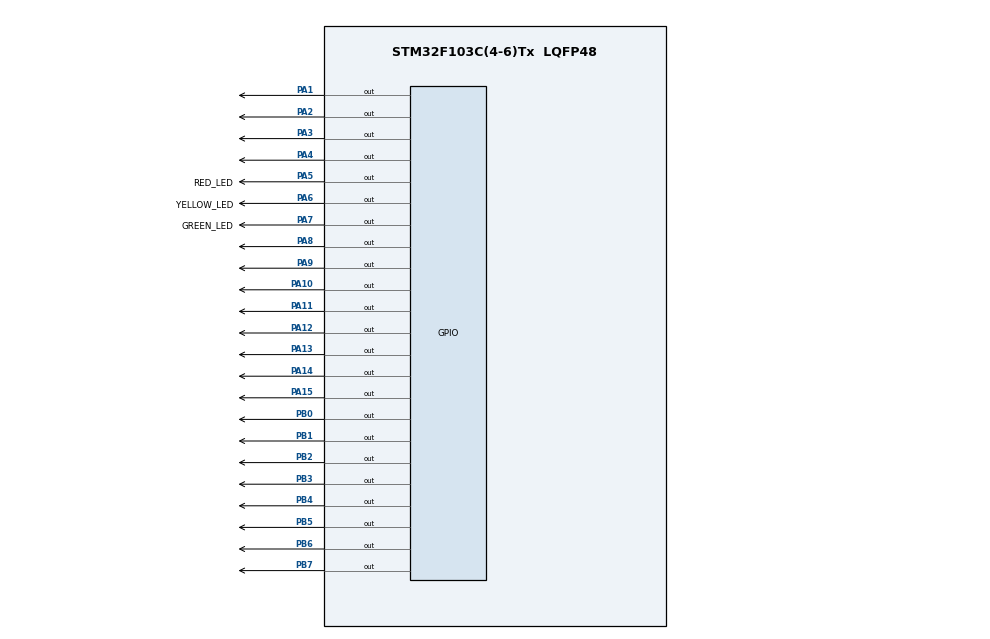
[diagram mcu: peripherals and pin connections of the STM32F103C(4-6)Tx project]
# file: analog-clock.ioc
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Mcu.Family=STM32F1
Mcu.Name=STM32F103C(4-6)Tx
Mcu.Package=LQFP48
NVIC.PriorityGroup=NVIC_PRIORITYGROUP_4
PA1.Signal=GPIO_Output
PA10.Signal=GPIO_Output
PA11.Signal=GPIO_Output
PA12.Signal=GPIO_Output
PA13.Signal=GPIO_Output
PA14.Signal=GPIO_Output
PA15.Signal=GPIO_Output
PA2.Signal=GPIO_Output
PA3.Signal=GPIO_Output
PA4.Signal=GPIO_Output
PA5.GPIO_Label=RED_LED
PA5.Signal=GPIO_Output
PA6.GPIO_Label=YELLOW_LED
PA6.Signal=GPIO_Output
PA7.GPIO_Label=GREEN_LED
PA7.Signal=GPIO_Output
PA8.Signal=GPIO_Output
PA9.Signal=GPIO_Output
PB0.Signal=GPIO_Output
PB1.Signal=GPIO_Output
PB2.Signal=GPIO_Output
PB3.Signal=GPIO_Output
PB4.Signal=GPIO_Output
PB5.Signal=GPIO_Output
PB6.Signal=GPIO_Output
PB7.Signal=GPIO_Output
ProjectManager.HeapSize=0x200
ProjectManager.StackSize=0x400
ProjectManager.TargetToolchain=STM32CubeIDE
RCC.APB1Freq_Value=8000000
RCC.APB2Freq_Value=8000000
VP_SYS_VS_ND.Mode=No_Debug
board=custom

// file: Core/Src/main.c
/* USER CODE BEGIN Header */
/**
  ******************************************************************************
  * @file           : main.c
  * @brief          : Main program body
  ******************************************************************************
  * @attention
  *
  * <h2><center>&copy; Copyright (c) 2022 STMicroelectronics.
  * All rights reserved.</center></h2>
  *
  * This software component is licensed by ST under BSD 3-Clause license,
  * the "License"; You may not use this file except in compliance with the
  * License. You may obtain a copy of the License at:
  *                        opensource.org/licenses/BSD-3-Clause
  *
  ******************************************************************************
  */
/* USER CODE END Header */
#include "main.h"

void SystemClock_Config(void);
static void MX_GPIO_Init(void);

// Ex6
void turnOnLed(){
	for(int i = 4; i < 16; i++){
	  HAL_GPIO_WritePin(GPIOA, GPIO_PIN_0 << i, 0);
	  HAL_Delay(500);
	  HAL_GPIO_WritePin(GPIOA, GPIO_PIN_0 << i, 1);
	}
}

//uint16_t LEDpin[12] = {GPIO_PIN_4, GPIO_PIN_5, GPIO_PIN_6, GPIO_PIN_7, GPIO_PIN_8, GPIO_PIN_9, GPIO_PIN_10, GPIO_PIN_11, GPIO_PIN_12, GPIO_PIN_13, GPIO_PIN_14, GPIO_PIN_15};
//
//void testLED(int num){
//	HAL_GPIO_WritePin(GPIOA, GPIO_PIN_4 | GPIO_PIN_5 | GPIO_PIN_6 | GPIO_PIN_7 | GPIO_PIN_8 | GPIO_PIN_9 | GPIO_PIN_10 | GPIO_PIN_11 | GPIO_PIN_12 | GPIO_PIN_13 | GPIO_PIN_14 | GPIO_PIN_15, GPIO_PIN_SET);
//	HAL_GPIO_WritePin(GPIOA, LEDpin[num], GPIO_PIN_RESET);
//}

// Ex7
void clearAllClock(){
	for(int i = 4; i < 16; i++){
		 HAL_GPIO_WritePin(GPIOA, GPIO_PIN_0 << i, 1);
	}
}

// Ex 8
uint16_t LEDPin[12] = {GPIO_PIN_4, GPIO_PIN_5, GPIO_PIN_6, GPIO_PIN_7, GPIO_PIN_8, GPIO_PIN_9, GPIO_PIN_10, GPIO_PIN_11, GPIO_PIN_12, GPIO_PIN_13, GPIO_PIN_14, GPIO_PIN_15};
void setNumberOnClock(int num){
	HAL_GPIO_WritePin(GPIOA, LEDPin[num], 0);
}

// Ex 9
void clearNumberOnClock(int num){
	HAL_GPIO_WritePin(GPIOA, LEDPin[num], 1);
}

int main(void)
{
  HAL_Init();
 SystemClock_Config();
  MX_GPIO_Init();
  // Ex10
  	int second = 0;
    int minute = 0;
    int hour = 0;
    /* USER CODE END 2 */

    /* Infinite loop */
    /* USER CODE BEGIN WHILE */
    while (1)
    {
  	  if (second == 11){
  		  second = 0;
  		  minute++;
  	  }
  	  if (minute == 11){
  		  minute = 0;
  		  hour++;
  	  }
  	  if (hour == 12){
  		  hour = 0;
  	  }

  	  clearAllClock();
  	  setNumberOnClock(second);
  	  setNumberOnClock(minute);
  	  setNumberOnClock(hour);
  	  HAL_Delay(250);
  	  second++;

      /* USER CODE END WHILE */

      /* USER CODE BEGIN 3 */
    }
}

void SystemClock_Config(void)
{
  RCC_OscInitTypeDef RCC_OscInitStruct = {0};
  RCC_ClkInitTypeDef RCC_ClkInitStruct = {0};

  /** Initializes the RCC Oscillators according to the specified parameters
  * in the RCC_OscInitTypeDef structure.
  */
  RCC_OscInitStruct.OscillatorType = RCC_OSCILLATORTYPE_HSI;
  RCC_OscInitStruct.HSIState = RCC_HSI_ON;
  RCC_OscInitStruct.HSICalibrationValue = RCC_HSICALIBRATION_DEFAULT;
  RCC_OscInitStruct.PLL.PLLState = RCC_PLL_NONE;
  if (HAL_RCC_OscConfig(&RCC_OscInitStruct) != HAL_OK)
  {
    Error_Handler();
  }
  /** Initializes the CPU, AHB and APB buses clocks
  */
  RCC_ClkInitStruct.ClockType = RCC_CLOCKTYPE_HCLK|RCC_CLOCKTYPE_SYSCLK
                              |RCC_CLOCKTYPE_PCLK1|RCC_CLOCKTYPE_PCLK2;
  RCC_ClkInitStruct.SYSCLKSource = RCC_SYSCLKSOURCE_HSI;
  RCC_ClkInitStruct.AHBCLKDivider = RCC_SYSCLK_DIV1;
  RCC_ClkInitStruct.APB1CLKDivider = RCC_HCLK_DIV1;
  RCC_ClkInitStruct.APB2CLKDivider = RCC_HCLK_DIV1;

  if (HAL_RCC_ClockConfig(&RCC_ClkInitStruct, FLASH_LATENCY_0) != HAL_OK)
  {
    Error_Handler();
  }
}

static void MX_GPIO_Init(void)
{
  GPIO_InitTypeDef GPIO_InitStruct = {0};

  /* GPIO Ports Clock Enable */
  __HAL_RCC_GPIOA_CLK_ENABLE();
  __HAL_RCC_GPIOB_CLK_ENABLE();

  /*Configure GPIO pin Output Level */
  HAL_GPIO_WritePin(GPIOA, GPIO_PIN_1|GPIO_PIN_2|GPIO_PIN_3|GPIO_PIN_4
                          |RED_LED_Pin|YELLOW_LED_Pin|GREEN_LED_Pin|GPIO_PIN_8
                          |GPIO_PIN_9|GPIO_PIN_10|GPIO_PIN_11|GPIO_PIN_12
                          |GPIO_PIN_13|GPIO_PIN_14|GPIO_PIN_15, GPIO_PIN_RESET);

  /*Configure GPIO pin Output Level */
  HAL_GPIO_WritePin(GPIOB, GPIO_PIN_0|GPIO_PIN_1|GPIO_PIN_2|GPIO_PIN_3
                          |GPIO_PIN_4|GPIO_PIN_5|GPIO_PIN_6|GPIO_PIN_7, GPIO_PIN_RESET);

  /*Configure GPIO pins : PA1 PA2 PA3 PA4
                           RED_LED_Pin YELLOW_LED_Pin GREEN_LED_Pin PA8
                           PA9 PA10 PA11 PA12
                           PA13 PA14 PA15 */
  GPIO_InitStruct.Pin = GPIO_PIN_1|GPIO_PIN_2|GPIO_PIN_3|GPIO_PIN_4
                          |RED_LED_Pin|YELLOW_LED_Pin|GREEN_LED_Pin|GPIO_PIN_8
                          |GPIO_PIN_9|GPIO_PIN_10|GPIO_PIN_11|GPIO_PIN_12
                          |GPIO_PIN_13|GPIO_PIN_14|GPIO_PIN_15;
  GPIO_InitStruct.Mode = GPIO_MODE_OUTPUT_PP;
  GPIO_InitStruct.Pull = GPIO_NOPULL;
  GPIO_InitStruct.Speed = GPIO_SPEED_FREQ_LOW;
  HAL_GPIO_Init(GPIOA, &GPIO_InitStruct);

  /*Configure GPIO pins : PB0 PB1 PB2 PB3
                           PB4 PB5 PB6 PB7 */
  GPIO_InitStruct.Pin = GPIO_PIN_0|GPIO_PIN_1|GPIO_PIN_2|GPIO_PIN_3
                          |GPIO_PIN_4|GPIO_PIN_5|GPIO_PIN_6|GPIO_PIN_7;
  GPIO_InitStruct.Mode = GPIO_MODE_OUTPUT_PP;
  GPIO_InitStruct.Pull = GPIO_NOPULL;
  GPIO_InitStruct.Speed = GPIO_SPEED_FREQ_LOW;
  HAL_GPIO_Init(GPIOB, &GPIO_InitStruct);

}

/* USER CODE BEGIN 4 */
void disPlay12LED(int value){
	HAL_GPIO_TogglePin(GPIOA, LEDPin[value]);
}
void display12LED(int value) {
//	clearAllClock();
	switch (value) {
	case 1:
		HAL_GPIO_TogglePin(GPIOA, GPIO_PIN_4);
		HAL_GPIO_TogglePin(GPIOA, GPIO_PIN_5);
		HAL_GPIO_TogglePin(GPIOA, GPIO_PIN_6);
		HAL_GPIO_TogglePin(GPIOA, GPIO_PIN_7);
		HAL_GPIO_TogglePin(GPIOA, GPIO_PIN_8);
		HAL_GPIO_TogglePin(GPIOA, GPIO_PIN_9);
		HAL_GPIO_TogglePin(GPIOA, GPIO_PIN_10);
		HAL_GPIO_TogglePin(GPIOA, GPIO_PIN_11);
		HAL_GPIO_TogglePin(GPIOA, GPIO_PIN_12);
		HAL_GPIO_TogglePin(GPIOA, GPIO_PIN_13);
		HAL_GPIO_TogglePin(GPIOA, GPIO_PIN_14);
		HAL_GPIO_TogglePin(GPIOA, GPIO_PIN_15);
		break;
	case 2:
		HAL_GPIO_TogglePin(GPIOA, GPIO_PIN_4);
		HAL_GPIO_TogglePin(GPIOA, GPIO_PIN_6);
		HAL_GPIO_TogglePin(GPIOA, GPIO_PIN_8);
		HAL_GPIO_TogglePin(GPIOA, GPIO_PIN_10);
		HAL_GPIO_TogglePin(GPIOA, GPIO_PIN_12);
		HAL_GPIO_TogglePin(GPIOA, GPIO_PIN_14);
		break;
	case 3:
		HAL_GPIO_TogglePin(GPIOA, GPIO_PIN_5);
		HAL_GPIO_TogglePin(GPIOA, GPIO_PIN_7);
		HAL_GPIO_TogglePin(GPIOA, GPIO_PIN_9);
		HAL_GPIO_TogglePin(GPIOA, GPIO_PIN_11);
		HAL_GPIO_TogglePin(GPIOA, GPIO_PIN_13);
		HAL_GPIO_TogglePin(GPIOA, GPIO_PIN_15);
		break;
	case 4:
		HAL_GPIO_TogglePin(GPIOA, GPIO_PIN_4);
		HAL_GPIO_TogglePin(GPIOA, GPIO_PIN_8);
		HAL_GPIO_TogglePin(GPIOA, GPIO_PIN_12);
		break;
	case 5:
		HAL_GPIO_TogglePin(GPIOA, GPIO_PIN_7);
		HAL_GPIO_TogglePin(GPIOA, GPIO_PIN_11);
		HAL_GPIO_TogglePin(GPIOA, GPIO_PIN_15);
		break;
	case 6:
		HAL_GPIO_TogglePin(GPIOA, GPIO_PIN_6);
		HAL_GPIO_TogglePin(GPIOA, GPIO_PIN_10);
		HAL_GPIO_TogglePin(GPIOA, GPIO_PIN_14);
		break;
	case 7:
		HAL_GPIO_TogglePin(GPIOA, GPIO_PIN_5);
		HAL_GPIO_TogglePin(GPIOA, GPIO_PIN_9);
		HAL_GPIO_TogglePin(GPIOA, GPIO_PIN_13);
		break;
	case 8:
		HAL_GPIO_TogglePin(GPIOA, GPIO_PIN_4);
		HAL_GPIO_TogglePin(GPIOA, GPIO_PIN_10);
		break;
	case 9:
		HAL_GPIO_TogglePin(GPIOA, GPIO_PIN_7);
		HAL_GPIO_TogglePin(GPIOA, GPIO_PIN_13);
		break;
	default:
		break;
	}

}
/* USER CODE END 4 */

void Error_Handler(void)
{
  __disable_irq();
  while (1)
  {
  }
}

/************************ (C) COPYRIGHT STMicroelectronics *****END OF FILE****/
